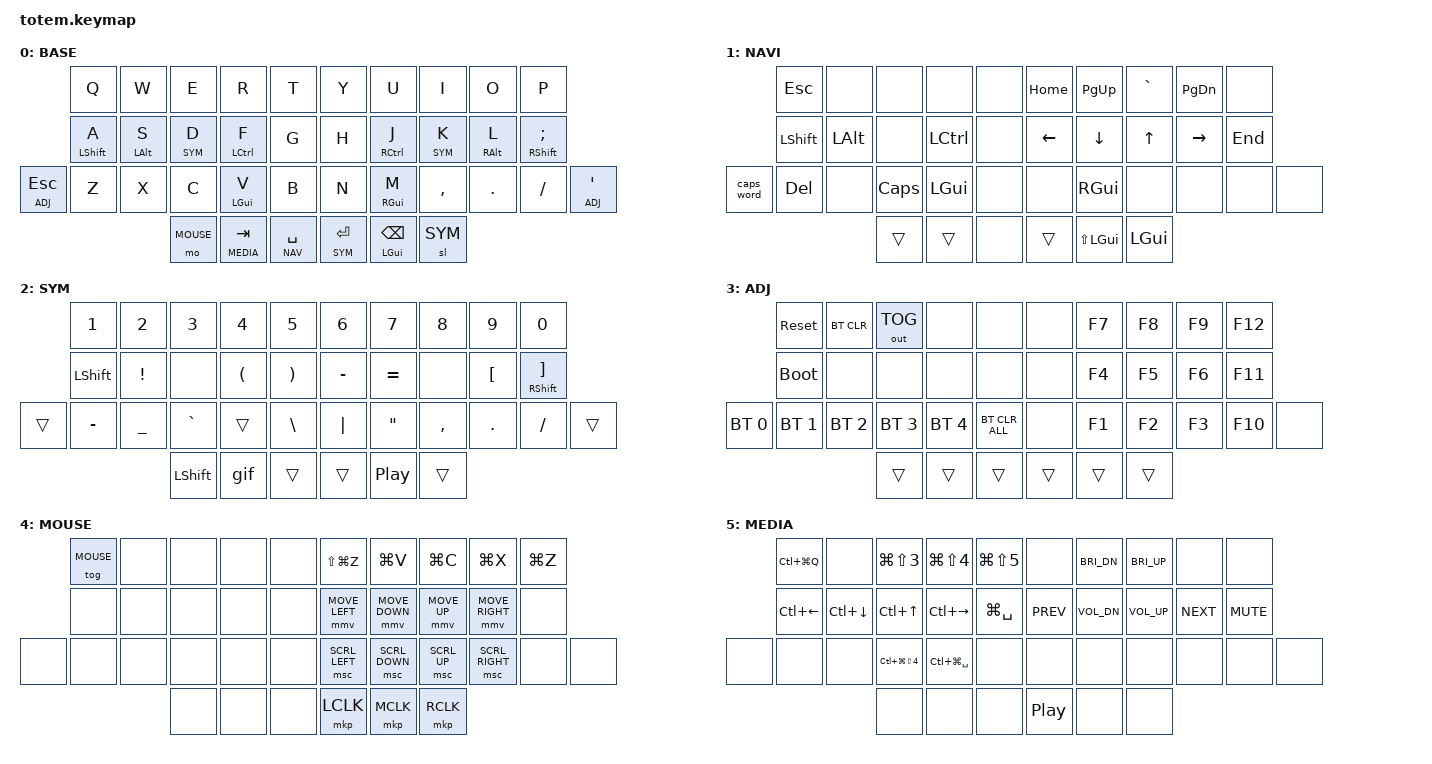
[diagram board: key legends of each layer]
//
//                                                        ▀▀▀▀▀     ▀▀▀▀▀          ▀▀█▀▀
//                                                        ▄▀▀▀▄  ▄  ▄▀▀▀▄  ▄  ▄▀▀▀▄  █  ▄▀▀▀▄
//                                                        █   █  █  █   █  █  █   █  █  █   █
//                                                         ▀▀▀   █   ▀▀▀   █   ▀▀▀   ▀   ▀▀▀
//                                                               █      ▄▄▄█▄▄▄    █   █  
//                                                               ▀      █  █  █     █▄█
//                                                             ▀▀▀▀▀    █  █  █      ▀
//                                                                      ▀  ▀  ▀
//
// ▄▄▄▄▄▄▄▄▄▄▄▄▄▄▄▄▄▄▄▄▄▄▄▄▄▄▄▄▄▄▄▄▄▄▄▄▄▄▄▄▄▄▄▄▄▄▄▄▄▄▄▄▄▄▄▄▄▄▄▄▄▄▄▄▄▄▄▄▄▄▄▄▄▄▄▄▄▄▄▄▄▄▄▄▄▄▄▄▄▄▄▄▄▄▄▄▄▄▄▄▄▄▄▄▄▄▄▄▄▄▄▄▄▄▄▄▄▄▄▄▄▄▄▄▄▄▄▄▄▄▄▄▄▄▄▄▄▄▄▄▄▄▄▄▄▄▄▄▄

#include <behaviors.dtsi>
#include <dt-bindings/zmk/bt.h>
#include <dt-bindings/zmk/keys.h>
#include <dt-bindings/zmk/outputs.h>
#include <dt-bindings/zmk/pointing.h>

#define BASE 0
#define NAV  1
#define SYM  2
#define ADJ  3
#define MOUSE 4
#define MEDIA 5

&mt {
    quick-tap-ms = <100>;
    require-prior-idle-ms = <100>;
    flavor = "tap-preferred";
    tapping-term-ms = <220>;
};

// Layer taps deliberately have NO require-prior-idle-ms. A modifier is almost
// always preceded by a pause, so the guard suits &mt; a symbol layer is not,
// because a bracket is wanted mid-burst. This mirrors the (require-prior-idle 0)
// opt-out on D, K, Caps and Right Alt in the kanata config.
&lt {
    quick-tap-ms = <100>;
    flavor = "tap-preferred";
    tapping-term-ms = <220>;
};

/ {
    behaviors {
        // A slower layer tap for the outer pinky keys, which reach ADJ. That
        // layer is rarely needed, so the longer term keeps a lingering Esc or
        // apostrophe from landing on it by accident.
        lt_slow: lt_slow {
            compatible = "zmk,behavior-hold-tap";
            #binding-cells = <2>;
            flavor = "tap-preferred";
            tapping-term-ms = <300>;
            quick-tap-ms = <100>;
            bindings = <&mo>, <&kp>;
        };
    };

    combos {
        compatible = "zmk,combos";

        combo_esc {
            timeout-ms = <200>;
            key-positions = <0 1>;
            bindings = <&kp ESC>;
            // Not on SYM, where Q and W are the digits 1 and 2 -- rolling
            // them to type "12" would otherwise fire Escape.
            layers = <BASE NAV ADJ>;
        };
    };

    macros {
        gif: gif {
            label = "giphy";
            compatible = "zmk,behavior-macro";
            #binding-cells = <0>;
            bindings =
                <&macro_press>,
                <&kp LSHFT>,
                <&macro_tap>,
                <&kp N2>,
                <&macro_release>,
                <&kp LSHFT>,
                <&macro_tap>,
                <&kp G &kp I &kp F>;
        };
    };

    keymap {
        compatible = "zmk,keymap";

        base_layer {
            label = "BASE";

            bindings = <
                  &kp Q       &kp W       &kp E         &kp R        &kp T            &kp Y        &kp U        &kp I          &kp O       &kp P
                  &mt LSHFT A &mt LALT S  &lt SYM D     &mt LCTRL F  &kp G            &kp H        &mt RCTRL J  &lt SYM K      &mt RALT L  &mt RSHFT SEMI
&lt_slow ADJ ESC  &kp Z       &kp X       &kp C         &mt LGUI V   &kp B            &kp N        &mt RGUI M   &kp COMMA      &kp DOT     &kp SLASH       &lt_slow ADJ APOS
                                          &mo MOUSE     &lt MEDIA TAB &lt NAV SPACE    &lt SYM RET  &mt LGUI BSPC &sl SYM
            >;
        };

        nav_layer {
            label = "NAVI";

            bindings = <
            &kp ESC    &none         &none     &none          &none       &kp HOME  &kp PG_UP  &kp GRAVE &kp PG_DN  &none
            &kp LSHFT  &kp LALT      &none     &kp LCTRL      &none       &kp LEFT  &kp DOWN   &kp UP   &kp RIGHT  &kp END
&caps_word  &kp DEL    &none         &kp CAPS  &kp LGUI       &none       &none     &kp RGUI   &none    &none      &none    &none
                                     &trans    &trans         &none       &trans    &kp LS(LGUI) &kp LGUI
            >;
        };

        sim_layer {
            label = "SYM";

            // The number row and the keys right of P on a regular keyboard,
            // brought within reach as plain keys, so Shift gives the usual
            // pair: { } on L and ;, _ + on H and J. K is empty because it is
            // one of the keys holding this layer, as is D. ! ( ) on S F G
            // save a Shift on the most common shifted symbols. Shift is on
            // A, on ; when held, and on the outer left thumb.

            bindings = <
             &kp N1     &kp N2     &kp N3     &kp N4      &kp N5        &kp N6     &kp N7     &kp N8     &kp N9     &kp N0
             &kp LSHFT  &kp EXCL   &none      &kp LPAR    &kp RPAR      &kp MINUS  &kp EQUAL  &none      &kp LBKT   &mt RSHFT RBKT
&trans       &kp MINUS  &kp UNDER  &kp GRAVE  &trans      &kp BSLH      &kp PIPE   &kp DQT    &kp COMMA  &kp DOT    &kp SLASH  &trans
                                   &kp LSHFT  &gif       &trans        &trans     &kp C_PP   &trans
            >;
        };

        adjust_layer {
            label = "ADJ";

            bindings = <
              &sys_reset    &bt BT_CLR    &out OUT_TOG  &none         &none             &none   &kp F7  &kp F8  &kp F9  &kp F12
              &bootloader   &none         &none         &none         &none             &none   &kp F4  &kp F5  &kp F6  &kp F11
&bt BT_SEL 0  &bt BT_SEL 1  &bt BT_SEL 2  &bt BT_SEL 3  &bt BT_SEL 4  &bt BT_CLR_ALL    &none   &kp F1  &kp F2  &kp F3  &kp F10  &none
                                          &trans        &trans        &trans            &trans  &trans  &trans
            >;
        };

        mouse_layer {
            label = "MOUSE";

            // Getreu's arrangement. Motion on vim hjkl, the wheel on the row
            // below in the same order, buttons on the right thumbs, Mac
            // clipboard keys above the motion. Hold the outer left thumb on
            // base to reach the layer; once on it, tap Q to lock the layer
            // and tap Q again to release it.

            bindings = <
            &tog MOUSE &none         &none         &none         &none         &kp LS(LG(Z))       &kp LG(V)          &kp LG(C)        &kp LG(X)           &kp LG(Z)
            &none      &none         &none         &none         &none         &mmv MOVE_LEFT      &mmv MOVE_DOWN     &mmv MOVE_UP     &mmv MOVE_RIGHT     &none
&none       &none      &none         &none         &none         &none         &msc SCRL_LEFT      &msc SCRL_DOWN     &msc SCRL_UP     &msc SCRL_RIGHT     &none     &none
                                     &none         &none         &none         &mkp LCLK          &mkp MCLK        &mkp RCLK
            >;
        };

        media_layer {
            label = "MEDIA";

            // Media keys under the right hand, laid out like the NAV arrows:
            // previous, volume down, volume up, next on H J K L, brightness
            // above volume, mute on ;, play/pause on the right thumb. Mac
            // shortcuts under the left hand: screenshots on E R T (3 4 5 on
            // SYM), desktops and Mission Control on A S D F in the same
            // left-down-up-right order, Spotlight on G, region screenshot to
            // clipboard on C, emoji on V, lock screen on Q. Hold Tab.

            bindings = <
            &kp LC(LG(Q))  &none          &kp LG(LS(N3))  &kp LG(LS(N4))  &kp LG(LS(N5))      &none          &kp C_BRI_DN   &kp C_BRI_UP   &none          &none
            &kp LC(LEFT)   &kp LC(DOWN)   &kp LC(UP)      &kp LC(RIGHT)   &kp LG(SPACE)       &kp C_PREV     &kp C_VOL_DN   &kp C_VOL_UP   &kp C_NEXT     &kp C_MUTE
&none       &none          &none          &kp LC(LG(LS(N4)))  &kp LC(LG(SPACE))  &none    &none          &none          &none          &none          &none     &none
                                          &none           &none           &none           &kp C_PP       &none          &none
            >;
        };
    };
};
